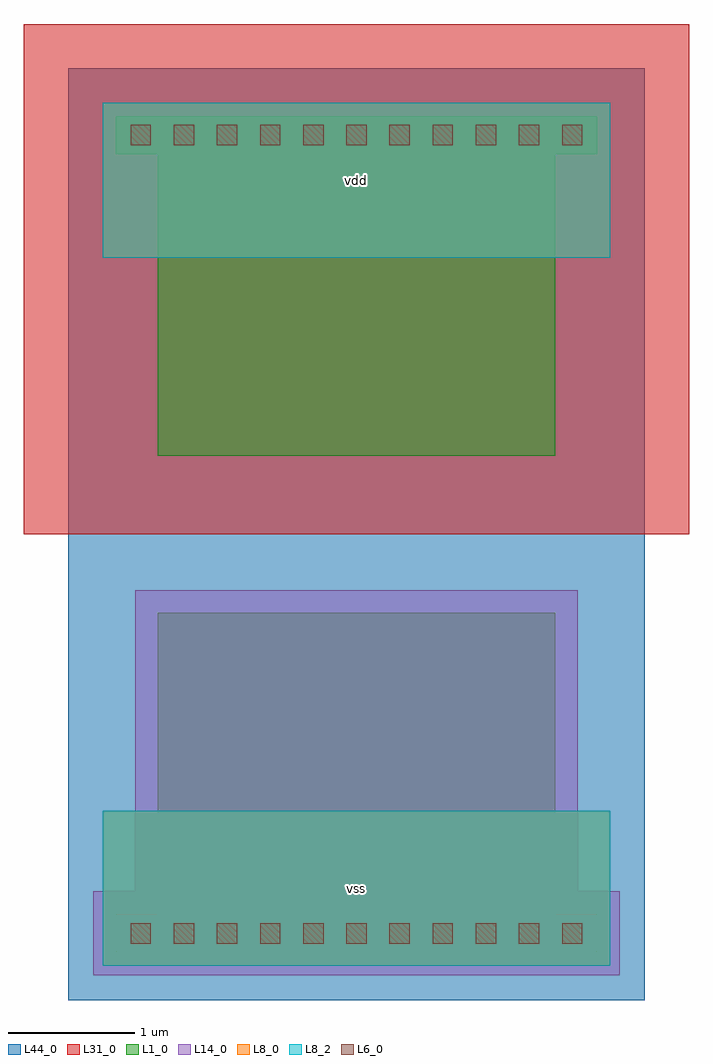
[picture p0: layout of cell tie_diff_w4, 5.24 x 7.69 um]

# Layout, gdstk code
import gdstk
lib = gdstk.Library(unit=1e-6, precision=1e-09)
def R(c, l, rs):  # rectangles x0, y0, x1, y1
    for r in rs: c.add(gdstk.rectangle(r[:2], r[2:], *l))
def A(c, l, x, y, w, h, nx, ny, dx, dy):  # array of equal rectangles
    R(c, l, [(x+i*dx, y+j*dy, x+i*dx+w, y+j*dy+h) for i in range(nx) for j in range(ny)])
def P(c, l, *ps):  # polygons
    for p in ps: c.add(gdstk.Polygon(p, *l))
L1_0 = (1, 0)
L6_0 = (6, 0)
L8_0 = (8, 0)
L8_2 = (8, 2)
L14_0 = (14, 0)
L31_0 = (31, 0)
L44_0 = (44, 0)

tie_diff_w4 = lib.new_cell('tie_diff_w4')
P(tie_diff_w4, L1_0, [(0.435,4.02),(0.435,6.395),(0.105,6.395),(0.105,6.695),(3.895,6.695),(3.895,6.395),(3.565,6.395),(3.565,4.02)],
  [(0.105,0.105),(0.105,0.405),(0.435,0.405),(0.435,2.78),(3.565,2.78),(3.565,0.405),(3.895,0.405),(3.895,0.105)])
A(tie_diff_w4, L6_0, 0.22, 0.175, 0.16, 0.16, 11, 2, 0.34, 6.29)
R(tie_diff_w4, L8_0, [(0,0,4,1.22), (0,5.58,4,6.8)])
R(tie_diff_w4, L8_2, [(0,0,4,1.22), (0,5.58,4,6.8)])
P(tie_diff_w4, L14_0, [(-0.075,-0.075),(-0.075,0.585),(0.255,0.585),(0.255,2.96),(3.745,2.96),(3.745,0.585),(4.075,0.585),(4.075,-0.075)])
R(tie_diff_w4, L31_0, [(-0.62,3.4,4.62,7.42)])
R(tie_diff_w4, L44_0, [(-0.27,-0.27,4.27,7.07)])
tie_diff_w4.add(gdstk.Label('vdd', (2,6.19), layer=8, texttype=2))
tie_diff_w4.add(gdstk.Label('vss', (2,0.61), layer=8, texttype=2))

lib.write_gds('tie_diff_w4.gds')
